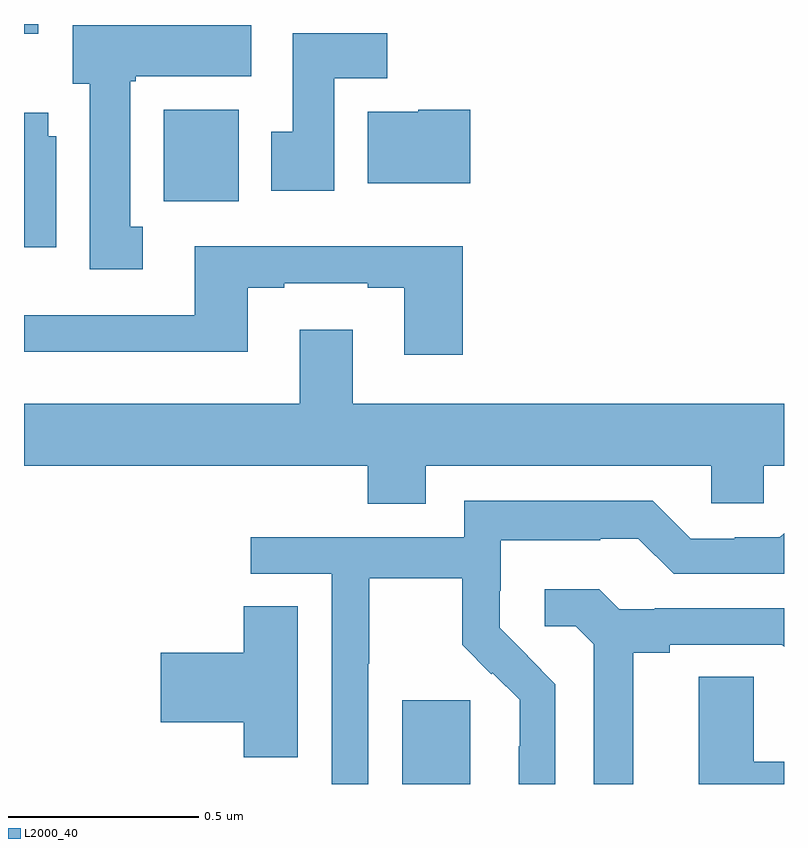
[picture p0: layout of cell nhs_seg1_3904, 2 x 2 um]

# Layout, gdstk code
import gdstk
lib = gdstk.Library(unit=1e-6, precision=1e-09)
def R(c, l, rs):  # rectangles x0, y0, x1, y1
    for r in rs: c.add(gdstk.rectangle(r[:2], r[2:], *l))
def P(c, l, *ps):  # polygons
    for p in ps: c.add(gdstk.Polygon(p, *l))
L2000_40 = (2000, 40)

nhs_seg1_3904 = lib.new_cell('nhs_seg1_3904')
R(nhs_seg1_3904, L2000_40, [(159.995,580.199,160.174,580.419), (159.368,581.732,159.565,581.974), (159,582.174,159.037,582.199)])
P(nhs_seg1_3904, L2000_40, [(159.313,581.666),(159.28,581.666),(159.28,582.049),(159.294,582.049),(159.294,582.062),(159.598,582.062),(159.598,582.196),(159.128,582.196),(159.128,582.042),(159.173,582.042),(159.173,581.553),(159.313,581.553)],
  [(159.817,582.056),(159.956,582.056),(159.956,582.175),(159.707,582.175),(159.707,581.916),(159.65,581.916),(159.65,581.76),(159.817,581.76)],
  [(160.174,581.974),(160.038,581.974),(160.038,581.968),(159.905,581.968),(159.905,581.78),(160.174,581.78)],
  [(159.085,581.904),(159.064,581.904),(159.064,581.965),(159,581.965),(159,581.612),(159.085,581.612)],
  [(160.154,581.614),(159.449,581.614),(159.449,581.433),(159,581.433),(159,581.336),(159.589,581.336),(159.589,581.505),(159.685,581.505),(159.685,581.517),(159.905,581.517),(159.905,581.505),(160.001,581.505),(160.001,581.328),(160.154,581.328)],
  [(160.057,581.036),(160.809,581.036),(160.809,580.938),(160.947,580.938),(160.947,581.036),(161,581.036),(161,581.2),(159.865,581.2),(159.865,581.395),(159.725,581.395),(159.725,581.2),(159,581.2),(159,581.036),(159.905,581.036),(159.905,580.937),(160.057,580.937)],
  [(159.906,580.516),(159.909,580.516),(159.909,580.74),(160.153,580.74),(160.153,580.565),(160.23,580.488),(160.233,580.491),(160.304,580.421),(160.304,580.298),(160.302,580.298),(160.302,580.199),(160.398,580.199),(160.398,580.462),(160.325,580.535),(160.326,580.536),(160.252,580.61),(160.252,580.707),(160.254,580.707),(160.254,580.841),(160.517,580.841),(160.517,580.845),(160.617,580.845),(160.71,580.752),(161,580.752),(161,580.859),(160.989,580.848),(160.871,580.848),(160.871,580.845),(160.755,580.845),(160.655,580.945),(160.158,580.945),(160.158,580.848),(159.597,580.848),(159.597,580.752),(159.81,580.752),(159.81,580.199),(159.906,580.199)],
  [(160.603,580.544),(160.699,580.544),(160.699,580.566),(160.994,580.566),(161,580.56),(161,580.662),(160.66,580.662),(160.66,580.659),(160.566,580.659),(160.514,580.711),(160.371,580.711),(160.371,580.614),(160.452,580.614),(160.499,580.567),(160.499,580.199),(160.603,580.199)],
  [(159.721,580.667),(159.578,580.667),(159.578,580.544),(159.36,580.544),(159.36,580.361),(159.578,580.361),(159.578,580.27),(159.721,580.27)],
  [(161,580.257),(160.92,580.257),(160.92,580.481),(160.775,580.481),(160.775,580.199),(161,580.199)])

lib.write_gds('nhs_seg1_3904.gds')
